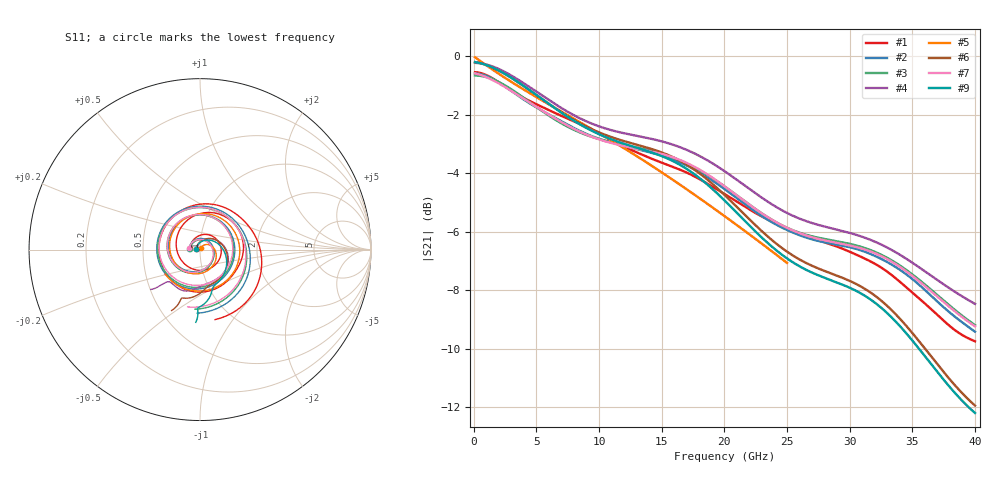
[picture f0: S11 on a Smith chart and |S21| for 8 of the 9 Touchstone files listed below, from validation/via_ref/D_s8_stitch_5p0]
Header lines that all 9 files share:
# Hz S RI R 50
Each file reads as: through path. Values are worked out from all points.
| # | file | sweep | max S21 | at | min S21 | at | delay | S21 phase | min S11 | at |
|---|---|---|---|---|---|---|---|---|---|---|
| 1 | cst.s2p | 100 MHz to 40 GHz | -0.55 dB | 100 MHz | -9.7 dB | 40 GHz | 58.7 ps | -78 deg at 20.1 GHz | -24.6 dB | 100 MHz |
| 2 | cst_fine.s2p | 100 MHz to 40 GHz | -0.60 dB | 100 MHz | -9.4 dB | 40 GHz | 59.3 ps | -82 deg at 20.1 GHz | -23.9 dB | 100 MHz |
| 3 | kisi.s2p | 100 MHz to 40 GHz | -0.66 dB | 100 MHz | -9.2 dB | 40 GHz | 59.2 ps | -81 deg at 20.1 GHz | -24.9 dB | 900 MHz |
| 4 | kisi_deembedded.s2p | 100 MHz to 40 GHz | -0.23 dB | 100 MHz | -8.5 dB | 40 GHz | 12.5 ps | -105 deg at 20.1 GHz | -35.3 dB | 100 MHz |
| 5 | kisi_model.s2p | 100 MHz to 25 GHz | -0.04 dB | 100 MHz | -7.1 dB | 25 GHz | 58.3 ps | 85 deg at 12.6 GHz | -40.2 dB | 100 MHz |
| 6 | ladder.s2p | 100 MHz to 40 GHz | -0.21 dB | 100 MHz | -11.9 dB | 40 GHz | 12.1 ps | -104 deg at 20.1 GHz | -32.8 dB | 100 MHz |
| 7 | openems.s2p | 100 MHz to 40 GHz | -0.60 dB | 100 MHz | -9.2 dB | 40 GHz | 59.7 ps | -85 deg at 20.1 GHz | -24.5 dB | 1.6 GHz |
| 8 | openems_base.s2p | 100 MHz to 40 GHz | -0.59 dB | 100 MHz | -9.3 dB | 40 GHz | 59.8 ps | -85 deg at 20.1 GHz | -24.5 dB | 1.6 GHz |
| 9 | pbm.s2p | 100 MHz to 40 GHz | -0.21 dB | 100 MHz | -12.2 dB | 40 GHz | 11.1 ps | -98 deg at 20.1 GHz | -32.8 dB | 100 MHz |
